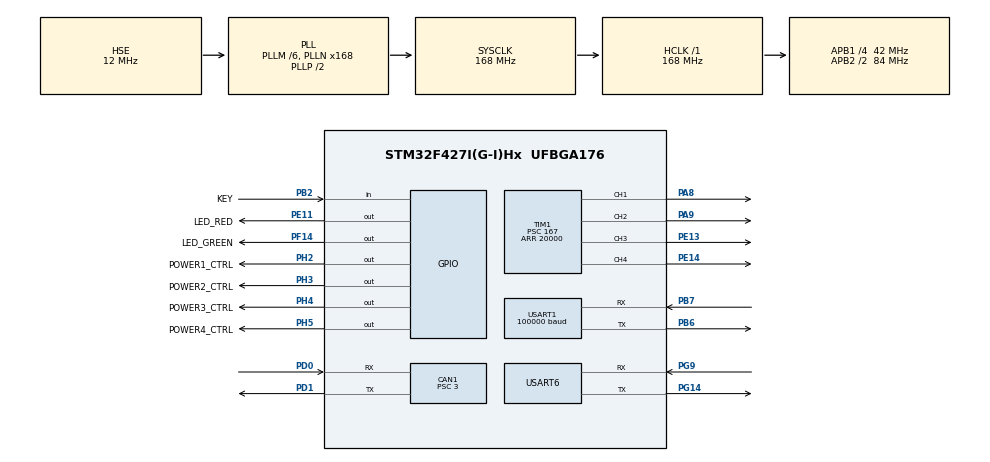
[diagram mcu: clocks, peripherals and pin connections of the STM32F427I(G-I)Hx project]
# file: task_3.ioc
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CAN1.ABOM=ENABLE
CAN1.BS1=CAN_BS1_9TQ
CAN1.BS2=CAN_BS2_4TQ
CAN1.CalculateBaudRate=1000000
CAN1.CalculateTimeBit=1000
CAN1.CalculateTimeQuantum=71.42857142857143
CAN1.Prescaler=3
Dma.Request0=USART1_RX
Dma.USART1_RX.0.Direction=DMA_PERIPH_TO_MEMORY
Dma.USART1_RX.0.FIFOMode=DMA_FIFOMODE_DISABLE
Dma.USART1_RX.0.Instance=DMA2_Stream2
Dma.USART1_RX.0.MemDataAlignment=DMA_MDATAALIGN_BYTE
Dma.USART1_RX.0.MemInc=DMA_MINC_ENABLE
Dma.USART1_RX.0.Mode=DMA_CIRCULAR
Dma.USART1_RX.0.PeriphDataAlignment=DMA_PDATAALIGN_BYTE
Dma.USART1_RX.0.PeriphInc=DMA_PINC_DISABLE
Dma.USART1_RX.0.Priority=DMA_PRIORITY_LOW
Mcu.Family=STM32F4
Mcu.Name=STM32F427I(G-I)Hx
Mcu.Package=UFBGA176
NVIC.CAN1_RX0_IRQn=true\:0\:0\:false\:false\:true\:true\:true\:true
NVIC.CAN1_TX_IRQn=true\:0\:0\:false\:false\:true\:true\:true\:true
NVIC.DMA2_Stream2_IRQn=true\:0\:0\:false\:false\:true\:false\:true\:true
NVIC.PriorityGroup=NVIC_PRIORITYGROUP_4
NVIC.USART1_IRQn=true\:0\:0\:false\:false\:true\:true\:true\:true
NVIC.USART6_IRQn=true\:0\:0\:false\:false\:true\:true\:true\:true
PA13.Mode=Serial_Wire
PA13.Signal=SYS_JTMS-SWDIO
PA14.Mode=Serial_Wire
PA14.Signal=SYS_JTCK-SWCLK
PA8.Signal=S_TIM1_CH1
PA9.Signal=S_TIM1_CH2
PB2/BOOT1.GPIO_Label=KEY
PB2/BOOT1.Signal=GPIO_Input
PB6.Mode=Asynchronous
PB6.Signal=USART1_TX
PB7.Mode=Asynchronous
PB7.Signal=USART1_RX
PD0.Mode=CAN_Activate
PD0.Signal=CAN1_RX
PD1.Mode=CAN_Activate
PD1.Signal=CAN1_TX
PE11.GPIO_Label=LED_RED
PE11.Signal=GPIO_Output
PE13.Signal=S_TIM1_CH3
PE14.Signal=S_TIM1_CH4
PF14.GPIO_Label=LED_GREEN
PF14.Signal=GPIO_Output
PG14.Mode=Asynchronous
PG14.Signal=USART6_TX
PG9.Mode=Asynchronous
PG9.Signal=USART6_RX
PH0/OSC_IN.Mode=HSE-External-Oscillator
PH0/OSC_IN.Signal=RCC_OSC_IN
PH1/OSC_OUT.Mode=HSE-External-Oscillator
PH1/OSC_OUT.Signal=RCC_OSC_OUT
PH2.GPIO_Label=POWER1_CTRL
PH2.Signal=GPIO_Output
PH3.GPIO_Label=POWER2_CTRL
PH3.Signal=GPIO_Output
PH4.GPIO_Label=POWER3_CTRL
PH4.Signal=GPIO_Output
PH5.GPIO_Label=POWER4_CTRL
PH5.Signal=GPIO_Output
ProjectManager.HeapSize=0x200
ProjectManager.StackSize=0x400
ProjectManager.TargetToolchain=CMake
RCC.48MHZClocksFreq_Value=84000000
RCC.AHBFreq_Value=168000000
RCC.APB1CLKDivider=RCC_HCLK_DIV4
RCC.APB1Freq_Value=42000000
RCC.APB1TimFreq_Value=84000000
RCC.APB2CLKDivider=RCC_HCLK_DIV2
RCC.APB2Freq_Value=84000000
RCC.APB2TimFreq_Value=168000000
RCC.CortexFreq_Value=168000000
RCC.HCLKFreq_Value=168000000
RCC.HSE_VALUE=12000000
RCC.HSI_VALUE=16000000
RCC.LSE_VALUE=32768
RCC.PLLM=6
RCC.PLLN=168
RCC.PLLSourceVirtual=RCC_PLLSOURCE_HSE
RCC.SYSCLKFreq_VALUE=168000000
RCC.SYSCLKSource=RCC_SYSCLKSOURCE_PLLCLK
RCC.VCOOutputFreq_Value=336000000
SH.S_TIM1_CH1.0=TIM1_CH1,PWM Generation1 CH1
SH.S_TIM1_CH2.0=TIM1_CH2,PWM Generation2 CH2
SH.S_TIM1_CH3.0=TIM1_CH3,PWM Generation3 CH3
SH.S_TIM1_CH4.0=TIM1_CH4,PWM Generation4 CH4
TIM1.Channel-PWM\ Generation1\ CH1=TIM_CHANNEL_1
TIM1.Channel-PWM\ Generation2\ CH2=TIM_CHANNEL_2
TIM1.Channel-PWM\ Generation3\ CH3=TIM_CHANNEL_3
TIM1.Channel-PWM\ Generation4\ CH4=TIM_CHANNEL_4
TIM1.Period=20000
TIM1.Prescaler=167
TIM1.Pulse-PWM\ Generation1\ CH1=1000
TIM1.Pulse-PWM\ Generation2\ CH2=1000
TIM1.Pulse-PWM\ Generation3\ CH3=1000
TIM1.Pulse-PWM\ Generation4\ CH4=1000
USART1.BaudRate=100000
USART1.Parity=PARITY_EVEN
USART1.VirtualMode=VM_ASYNC
USART6.VirtualMode=VM_ASYNC
board=custom

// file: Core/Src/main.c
/* USER CODE BEGIN Header */
/**
  ******************************************************************************
  * @file           : main.c
  * @brief          : Main program body
  ******************************************************************************
  * @attention
  *
  * Copyright (c) 2025 STMicroelectronics.
  * All rights reserved.
  *
  * This software is licensed under terms that can be found in the LICENSE file
  * in the root directory of this software component.
  * If no LICENSE file comes with this software, it is provided AS-IS.
  *
  ******************************************************************************
  */
/* USER CODE END Header */
#include "main.h"
#include "can.h"
#include "dma.h"
#include "tim.h"
#include "usart.h"
#include "gpio.h"

/* USER CODE BEGIN Includes */
#include <stdio.h>
#include <stdlib.h>
#include <string.h>

#include "bsp_can.h"
// #include "bsp_key.h"
#include <stdbool.h>

#include "bsp_led.h"
#include "bsp_pwm.h"
#include "bsp_uart.h"
#include "pid.h"
/* USER CODE END Includes */

/* USER CODE BEGIN PV */
#define MOTOR_IDX 0
extern rc_info_t rc;//接收rc遥控器的信息结构体
char buf[200];//串口通信相关
int count;//计数结构
extern moto_info_t motor_info[MOTOR_MAX_NUM];//定义了最大电机数量的结构体
int16_t led_cnt;//闪烁计数
pid_struct_t motor_pid[7];//储存pid控制参数
float target_speed;
uint16_t pwm_pulse = 1080;

static pid_struct_t pos_pid;
static uint16_t last_enc = 0;

static int32_t total_angle1 = 0;
static int32_t total_angle2 = 0;

static int32_t target_angle1 = 0;
static int32_t target_angle2 = 0;

float g_pid_output1 = 0.0f;   // 全局 PID 输出
float g_pid_output2 = 0.0f;   // 全局 PID 输出

int32_t g_error1 = 0;
int32_t g_error2 = 0;

static int32_t lock_position1 = 0;   // 锁定的目标位置（松手时记录）
static int32_t lock_position2 = 0;   // 锁定的目标位置（松手时记录）

static bool is_in_manual_move1 = false; // 是否正在用摇杆移动
static bool is_in_manual_move2 = false;
/* USER CODE END PV */

void SystemClock_Config(void);
void position_control_init(void);
void position_control_loop1(void);
void position_control_loop2(void);

/* USER CODE BEGIN 0 */
void position_control_init(void)
{
  while (motor_info[MOTOR_IDX].rotor_angle == 0) {
    HAL_Delay(1);
  }

  last_enc = motor_info[MOTOR_IDX].rotor_angle;
  total_angle1 = 0;
  total_angle2 = 0;

  angle_update_total(&total_angle1, motor_info[MOTOR_IDX].rotor_angle, &last_enc);
  angle_update_total(&total_angle2, motor_info[MOTOR_IDX].rotor_angle, &last_enc);

  // 初始化锁定位置为当前位置
  lock_position1 = total_angle1;
  lock_position2 = total_angle2;

  is_in_manual_move1 = false;
  is_in_manual_move2 = false;

  // 提高 Kp 让力矩足够（关键！）
  pid_init(&pos_pid,
           70.0f,   // Kp: 60~80 起步
           0.0f,
           1.2f,    // Kd: 抑制抖动
           1000.0f,
           12000.0f
  );
}

void position_control_loop1(void)
{
  static uint32_t last_tick = 0;
  if (HAL_GetTick() - last_tick < 10) return;
  last_tick = HAL_GetTick();

  // 更新多圈角度
  angle_update_total(&total_angle1, motor_info[MOTOR_IDX].rotor_angle, &last_enc);

  const int16_t DEAD_ZONE = 20;
  const int32_t ANGLE_STEP = 200;

  // 判断是否处于“主动控制”状态
  if (rc.sw1 == 2 && abs(rc.ch2) > DEAD_ZONE) {
    // 正在用摇杆移动
    is_in_manual_move1 = true;
    target_angle1 += (int32_t)rc.ch2 * ANGLE_STEP / 1000;
    // 实时更新锁定点（可选，也可只在松手时更新）
    lock_position1 = target_angle1;
  } else {
    // 不在主动控制（松手 或 不在档位）
    if (is_in_manual_move1) {
      // 刚松手：记录当前位置作为锁定目标
      lock_position1 = total_angle1;
      is_in_manual_move1 = false;
    }
    // 无论是否刚松手，只要不主动控制，就使用锁定位置
    target_angle1 = lock_position1;
  }

  // PID 计算
  g_error1 = target_angle1 - total_angle1;
  g_pid_output1 = pid_calc(&pos_pid, (float)target_angle1, (float)total_angle1);

  // 发送指令
  set_motor_voltage(0, (int16_t)g_pid_output1, 0,
                       0, 0);
}

void position_control_loop2(void)
{
  static uint32_t last_tick = 0;
  if (HAL_GetTick() - last_tick < 10) return;
  last_tick = HAL_GetTick();

  // 更新多圈角度
  angle_update_total(&total_angle2, motor_info[MOTOR_IDX].rotor_angle, &last_enc);

  const int16_t DEAD_ZONE = 20;
  const int32_t ANGLE_STEP = 200;

  // 判断是否处于“主动控制”状态
  if (rc.sw1 == 2 && abs(rc.ch1) > DEAD_ZONE) {
    // 正在用摇杆移动
    is_in_manual_move2 = true;
    target_angle2 += (int32_t)rc.ch1 * ANGLE_STEP / 1000;
    // 实时更新锁定点（可选，也可只在松手时更新）
    lock_position2 = target_angle2;
  } else {
    // 不在主动控制（松手 或 不在档位）
    if (is_in_manual_move2) {
      // 刚松手：记录当前位置作为锁定目标
      lock_position2 = total_angle2;
      is_in_manual_move2 = false;
    }
    // 无论是否刚松手，只要不主动控制，就使用锁定位置
    target_angle2 = lock_position2;
  }

  // PID 计算
  g_error2 = target_angle2 - total_angle2;
  g_pid_output2 = pid_calc(&pos_pid, (float)target_angle2, (float)total_angle2);

  // 发送指令
  set_motor_voltage(0, 0, (int16_t)g_pid_output2,
                       0, 0);
}
/* USER CODE END 0 */

int main(void) {

    /* MCU Configuration--------------------------------------------------------*/

    /* Reset of all peripherals, Initializes the Flash interface and the Systick. */
    HAL_Init();

    /* Configure the system clock */
    SystemClock_Config();

    /* Initialize all configured peripherals */
    MX_GPIO_Init();
    MX_DMA_Init();
    MX_USART1_UART_Init();
    MX_USART6_UART_Init();
    MX_CAN1_Init();
    MX_TIM1_Init();
    /* USER CODE BEGIN 2 */
    dbus_uart_init();

    HAL_GPIO_WritePin(GPIOH, POWER1_CTRL_Pin|POWER2_CTRL_Pin|POWER3_CTRL_Pin|POWER4_CTRL_Pin, GPIO_PIN_SET); // switch on 24v power
    pwm_init();                              // start pwm output
    can_user_init(&hcan1);                   // config can filter, start can

    position_control_init();

    /* USER CODE END 2 */

    /* Infinite loop */
    /* USER CODE BEGIN WHILE */
    while (1)
    {

      /* led blink */
      led_cnt ++;
      if (led_cnt == 250)
      {
        led_cnt = 0;
        LED_RED_TOGGLE(); //blink cycle 500ms
      }

      /* USER CODE END WHILE */

      /* USER CODE BEGIN 3 */

      HAL_Delay(1);
      position_control_loop1();
      position_control_loop2();
    }
    /* USER CODE END 3 */
  }

void SystemClock_Config(void)
{
  RCC_OscInitTypeDef RCC_OscInitStruct = {0};
  RCC_ClkInitTypeDef RCC_ClkInitStruct = {0};

  /** Configure the main internal regulator output voltage
  */
  __HAL_RCC_PWR_CLK_ENABLE();
  __HAL_PWR_VOLTAGESCALING_CONFIG(PWR_REGULATOR_VOLTAGE_SCALE1);

  /** Initializes the RCC Oscillators according to the specified parameters
  * in the RCC_OscInitTypeDef structure.
  */
  RCC_OscInitStruct.OscillatorType = RCC_OSCILLATORTYPE_HSE;
  RCC_OscInitStruct.HSEState = RCC_HSE_ON;
  RCC_OscInitStruct.PLL.PLLState = RCC_PLL_ON;
  RCC_OscInitStruct.PLL.PLLSource = RCC_PLLSOURCE_HSE;
  RCC_OscInitStruct.PLL.PLLM = 6;
  RCC_OscInitStruct.PLL.PLLN = 168;
  RCC_OscInitStruct.PLL.PLLP = RCC_PLLP_DIV2;
  RCC_OscInitStruct.PLL.PLLQ = 4;
  if (HAL_RCC_OscConfig(&RCC_OscInitStruct) != HAL_OK)
  {
    Error_Handler();
  }

  /** Initializes the CPU, AHB and APB buses clocks
  */
  RCC_ClkInitStruct.ClockType = RCC_CLOCKTYPE_HCLK|RCC_CLOCKTYPE_SYSCLK
                              |RCC_CLOCKTYPE_PCLK1|RCC_CLOCKTYPE_PCLK2;
  RCC_ClkInitStruct.SYSCLKSource = RCC_SYSCLKSOURCE_PLLCLK;
  RCC_ClkInitStruct.AHBCLKDivider = RCC_SYSCLK_DIV1;
  RCC_ClkInitStruct.APB1CLKDivider = RCC_HCLK_DIV4;
  RCC_ClkInitStruct.APB2CLKDivider = RCC_HCLK_DIV2;

  if (HAL_RCC_ClockConfig(&RCC_ClkInitStruct, FLASH_LATENCY_5) != HAL_OK)
  {
    Error_Handler();
  }
}

void Error_Handler(void)
{
  __disable_irq();
  while (1)
  {
  }
}
